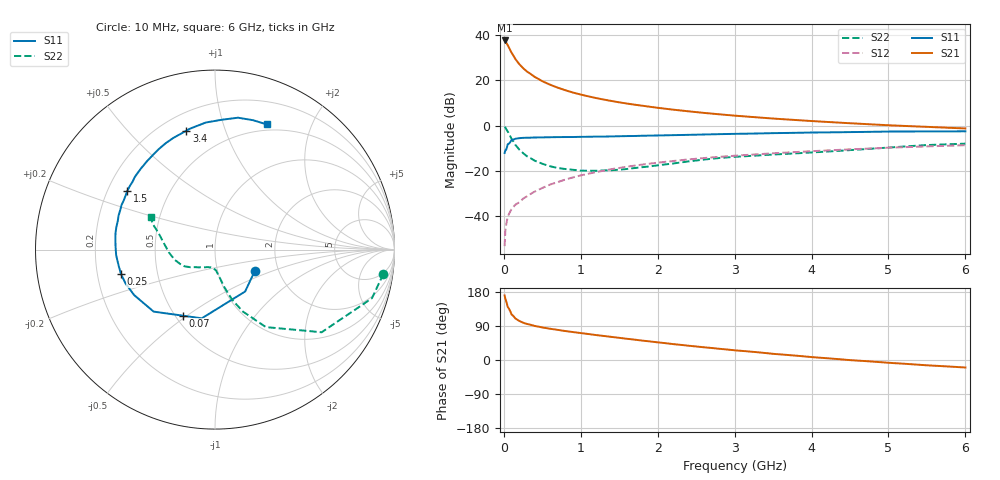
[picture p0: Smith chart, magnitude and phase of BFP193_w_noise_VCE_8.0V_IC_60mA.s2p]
! Infineon Technologies  Discrete & RF Semiconductors
! BFP193
! VCE =  8.0 V,  IC =  60 mA
! Common Emitter S-Parameters:  Jan 2017
# GHz  S  MA  R  50
!  f  S11  S21  S12  S22
! GHz  MAG  ANG  MAG  ANG  MAG  ANG  MAG  ANG
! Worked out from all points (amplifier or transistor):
!   77 points, 10 MHz to 6 GHz, reference 50 ohm
!   highest |S21| = 37.7 dB at 10 MHz (marker M1)
!   |S21| within 3 dB of that: start of sweep to 64.62 MHz
!   unconditionally stable (mu >= 1): 571.8 MHz to 2.389 GHz
!   at 130 MHz: K = 0.62, MSG = 33.1 dB, |S12| = -35.6 dB
!   at 2.2 GHz: K = 1.01, MAG = 10.7 dB, |S12| = -15.6 dB
!   at 6 GHz: K = 0.91, MSG = 3.7 dB, |S12| = -8.6 dB
!   lowest NFmin = 1.67 dB at 450 MHz
!   S11 on the Smith chart (normalised r, x): 10 MHz: 1.51, -0.39; 70 MHz: 0.54, -0.48; 250 MHz: 0.30, -0.11; 1.5 GHz: 0.28, +0.28; 3.4 GHz: 0.30, +0.74; 6 GHz: 0.43, +1.40
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0.01  0.2518 -28.5  76.42 170.3  0.0022 86.3  0.9479 -8.2
0.02  0.2876 -54.3  74.74 161.7  0.0049 86.1  0.9156 -17.2
0.05  0.3899 -100.9  60.34 140.4  0.0097 66.4  0.7518 -37.8
0.07  0.41 -116.2  51.91 134.1  0.0116 64.3  0.65 -43.7
0.1  0.4861 -134.7  41.04 120.1  0.0144 62.2  0.5165 -56.7
0.15  0.5168 -150.6  29.71 109.6  0.0181 59.9  0.3792 -65.7
0.2  0.533 -159.2  23.06 103.2  0.0205 63.0  0.2997 -70.8
0.25  0.5412 -165.6  18.75 98.4  0.0246 62.8  0.2493 -73.7
0.3  0.5439 -170.1  15.76 95.2  0.0277 65.3  0.2127 -76.2
0.4  0.5515 -176.6  12 89.9  0.0352 67.6  0.17 -79.3
0.5  0.5544 178.2  9.632 85.9  0.0423 68.1  0.145 -82.1
0.6  0.5585 173.8  8.076 82.5  0.0503 68.4  0.128 -84.9
0.7  0.562 170.4  6.935 79.5  0.0571 69.4  0.1167 -87.1
0.9  0.5645 163.7  5.404 73.7  0.0726 68.1  0.1068 -93.5
1.1  0.572 157.4  4.455 68.5  0.0875 67.0  0.1019 -99.8
1.5  0.5875 146.1  3.293 58.5  0.1171 62.9  0.1072 -114.9
2.1  0.6155 130.2  2.38 44.4  0.16 55.6  0.1402 -135.4
3.1  0.6669 109.0  1.625 24.0  0.2237 43.1  0.211 -158.1
3.4  0.6816 103.5  1.487 18.4  0.241 39.7  0.2263 -164.0
4.1  0.7121 92.6  1.244 6.2  0.28 31.5  0.2633 -179.1
5.1  0.7463 78.8  1.01 -8.6  0.3319 20.0  0.3391 162.0
6  0.7545 67.6  0.873 -19.8  0.3724 9.8  0.4029 153.1
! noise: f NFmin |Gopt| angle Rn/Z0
0.45  1.67  0.48  -170  0.1
0.9  1.73  0.49  -163  0.1
1.9  2.41  0.62  -131  0.27
2.4  2.75  0.65  -118  0.56
